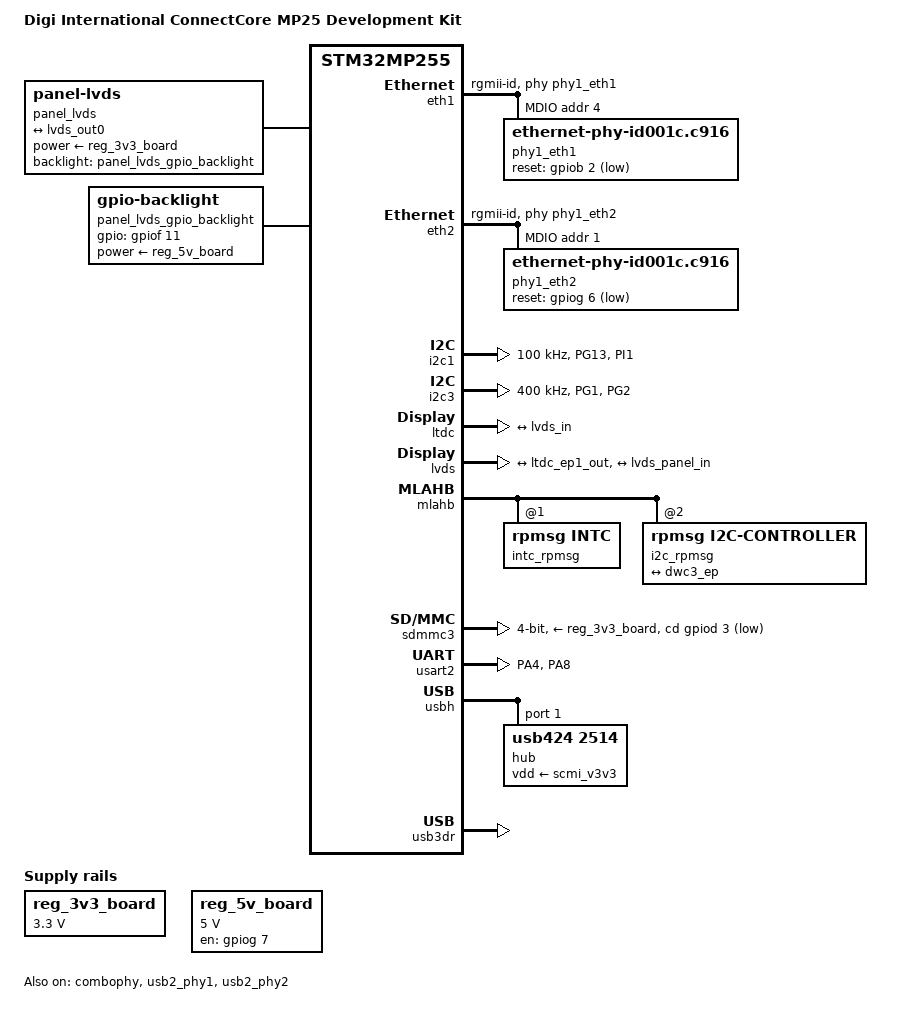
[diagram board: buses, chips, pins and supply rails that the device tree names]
// SPDX-License-Identifier: (GPL-2.0-or-later OR BSD-3-Clause)
/*
 * Copyright (C) STMicroelectronics 2023 - All Rights Reserved
 * Copyright (C) 2024, Digi International Inc - All Rights Reserved
 */

/dts-v1/;

#include <dt-bindings/gpio/gpio.h>
#include <dt-bindings/input/input.h>
#include <dt-bindings/leds/common.h>
#include <dt-bindings/regulator/st,stm32mp25-regulator.h>

/* Digi ConnectCore MP25 (SOM) */
#include "ccmp25.dtsi"

/ {
	model = "Digi International ConnectCore MP25 Development Kit";
	compatible = "digi,ccmp25-dvk", "digi,ccmp25", "st,stm32mp255";

	system-info {
    	compatible = "Viena,system-info";
		product-id = "Viena-CCMP25";
    	pcb-revision = "Rev 1.0";
    	firmware-version = "DEY5.0r3-20250119-pwr1-console-bias-pull-up-remove-i2c8";
	};

	aliases {
		ethernet0 = &eth1;
		ethernet1 = &eth2;
		serial0 = &usart2;
	};

	chosen {
		stdout-path = "serial0:115200n8";
		#address-cells = <2>;
		#size-cells = <2>;
		ranges;

		framebuffer {
			compatible = "simple-framebuffer";
			clocks = <&rcc CK_BUS_LTDC>, <&rcc CK_KER_LTDC>,
				 <&rcc CK_BUS_LVDS>, <&rcc CK_KER_LVDSPHY>;
			status = "disabled";
		};
	};

	clocks {
		pad_clk: pad-clk {
			#clock-cells = <0>;
			compatible = "fixed-clock";
			clock-frequency = <100000000>;
		};
	};

	regulators {
		compatible = "simple-bus";
		#address-cells = <1>;
		#size-cells = <0>;

		reg_3v3_board: regulator-board@1 {
			compatible = "regulator-fixed";
			reg = <1>;
			regulator-name = "3v3_board";
			regulator-min-microvolt = <3300000>;
			regulator-max-microvolt = <3300000>;
			regulator-always-on;
			status = "okay";
		};

		reg_5v_board: regulator-board@2 {
			compatible = "regulator-fixed";
			reg = <2>;
			regulator-name = "5v_board";
			regulator-min-microvolt = <5000000>;
			regulator-max-microvolt = <5000000>;
			regulator-enable-ramp-delay = <8000>;
			gpio = <&gpiog 7 GPIO_ACTIVE_HIGH>; /* 5V_BOARD_EN */
			enable-active-high;
			status = "okay";
		};
	};

	panel_lvds: panel-lvds {
		compatible = "panel-lvds";
		power-supply = <&reg_3v3_board>;
		backlight = <&panel_lvds_gpio_backlight>;
		/* backlight = <&panel_hx3248c_backlight>; */
		status = "okay";

		width-mm = <235>;
		height-mm = <143>;
		data-mapping = "vesa-24";

		panel-timing {
			clock-frequency = <51200000>;
			hactive = <1024>;
        	vactive = <600>;
	        hfront-porch = <160>;
    	    hback-porch = <160>;
        	hsync-len = <10>;
	        vfront-porch = <12>;
    	    vback-porch = <23>;
        	vsync-len = <3>;
			hsync-active = <0>;
			vsync-active = <0>;
			de-active = <1>;
			pixelclk-active = <0>;
		};

		port {
			lvds_panel_in: endpoint {
				remote-endpoint = <&lvds_out0>;
			};
		};
	};

	panel_lvds_gpio_backlight: panel-lvds-gpio-backlight {
		compatible = "gpio-backlight";
		power-supply = <&reg_5v_board>;
		gpios = <&gpiof 11 GPIO_ACTIVE_HIGH>; /* LVDS_BCKL_EN */
		status = "okay";
	};
};

&combophy {
	clocks = <&rcc CK_BUS_USB3PCIEPHY>, <&rcc CK_KER_USB3PCIEPHY>, <&pad_clk>;
	clock-names = "apb-clk", "ker-clk", "pad-clk";
	st,rx_equalizer = <1>;
	status = "okay";
};


&eth1 {

	status = "okay";
	pinctrl-0 = <&eth1_rgmii_pins_a &eth1_mdio_pins_a>;
	pinctrl-1 = <&eth1_rgmii_sleep_pins_a &eth1_mdio_sleep_pins_a>;
	pinctrl-names = "default", "sleep";
	phy-mode = "rgmii-id";
	max-speed = <1000>;
	phy-handle = <&phy1_eth1>;
	st,eth-clk-sel;
	snps,ext-systime;

	mdio1 {
		#address-cells = <1>;
		#size-cells = <0>;
		compatible = "snps,dwmac-mdio";
		phy1_eth1: ethernet-phy@4 {
			compatible = "ethernet-phy-id001c.c916";
			reset-gpios =  <&gpiob 2 GPIO_ACTIVE_LOW>;
			reset-assert-us = <10000>;
			reset-deassert-us = <80000>;
			realtek,eee-disable;
			reg = <4>;
		};
	};
};

&eth2 {

	status = "okay";
	pinctrl-0 = <&eth2_rgmii_pins_a>;
	pinctrl-1 = <&eth2_rgmii_sleep_pins_a>;
	pinctrl-names = "default", "sleep";
	phy-mode = "rgmii-id";
	max-speed = <1000>;
	phy-handle = <&phy1_eth2>;
	st,eth-ptp-from-rcc;

	mdio1 {
		#address-cells = <1>;
		#size-cells = <0>;
		compatible = "snps,dwmac-mdio";
		phy1_eth2: ethernet-phy@1 {
			compatible = "ethernet-phy-id001c.c916";
			reset-gpios =  <&gpiog 6 GPIO_ACTIVE_LOW>;
			reset-assert-us = <10000>;
			reset-deassert-us = <80000>;
			realtek,eee-disable;
			reg = <1>;
		};
	};

};

&i2c1 {
	pinctrl-names = "default", "sleep";
	pinctrl-0 = <&ccmp25_i2c1_pins>;
	pinctrl-1 = <&ccmp25_i2c1_sleep_pins>;
	i2c-scl-rising-time-ns = <185>;
	i2c-scl-falling-time-ns = <20>;
	clock-frequency = <100000>;
	status = "okay";
	/* spare dmas for other usage */
	/delete-property/dmas;
	/delete-property/dma-names;
};

&i2c3 {
	pinctrl-names = "default", "sleep";
	pinctrl-0 = <&ccmp25_i2c3_pins>;
    pinctrl-1 = <&ccmp25_i2c3_sleep_pins>;
	i2c-scl-rising-time-ns = <100>;
	i2c-scl-falling-time-ns = <13>;
	clock-frequency = <400000>;
	status = "okay";
	/* spare dmas for other usage */
	/delete-property/dmas;
	/delete-property/dma-names;
};

&ltdc {
	rotation-memory = <&ltdc_sec_rotation>;
	status = "okay";

	port {
		#address-cells = <1>;
		#size-cells = <0>;

		ltdc_ep1_out: endpoint@1 {
			reg = <1>;
			remote-endpoint = <&lvds_in>;
		};
	};
};

&lvds {
	status = "okay";

	ports {
		#address-cells = <1>;
		#size-cells = <0>;

		port@0 {
			reg = <0>;
			lvds_in: endpoint {
				remote-endpoint = <&ltdc_ep1_out>;
			};
		};

		port@1 {
			reg = <1>;
			lvds_out0: endpoint {
				remote-endpoint = <&lvds_panel_in>;
			};
		};
	};
};

&mlahb {
	intc_rpmsg: interrupt-controller@1 {
		compatible = "rpmsg,intc";
		reg = <1 0>;
		#interrupt-cells = <1>;
		interrupt-controller;
	};

	i2c_rpmsg: i2c@2 {
		compatible = "rpmsg,i2c-controller";
		reg = <2 0>;
		rpmsg,dev-id = "rpmsg_i2c";
		#address-cells = <1>;
		#size-cells = <0>;
		status = "okay";

		typec@35 {
			compatible = "st,stm32mp25-typec";
			reg = <0x35>;
			interrupts-extended = <&intc_rpmsg 0>;
			status = "okay";
			connector {
				compatible = "usb-c-connector";
				label = "USB-C";

				port {
					typec_ep: endpoint {
						remote-endpoint = <&dwc3_ep>;
					};
				};
			};
		};
	};
};

/* Micro SD */
&sdmmc3 {
	pinctrl-names = "default", "opendrain", "sleep";
	pinctrl-0 = <&sdmmc3_b4_pins_a>;
	pinctrl-1 = <&sdmmc3_b4_od_pins_a>;
	pinctrl-2 = <&sdmmc3_b4_sleep_pins_a>;
	cd-gpios = <&gpiod 3 GPIO_ACTIVE_LOW>;   /* viena-board use pd3 */
	disable-wp;
	st,neg-edge;
	no-1-8-v;
	bus-width = <4>;
	vmmc-supply = <&reg_3v3_board>; /* card's VDD pin */
	vqmmc-supply = <&scmi_vddio3>;
	status = "okay";
};

/* Console A35 */
&usart2 {
	pinctrl-names = "default", "idle", "sleep";
	pinctrl-0 = <&ccmp25_usart2_pins_a>;
	pinctrl-1 = <&ccmp25_usart2_idle_pins_a>;
	pinctrl-2 = <&usart2_sleep_pins_a>;
	/delete-property/dmas;
	/delete-property/dma-names;
	status = "okay";
};

&usb2_phy1 {
	vdd33-supply = <&scmi_vdd3v3_usb>;
	vdda18-supply = <&reg_5v_board>;
	status = "okay";
};

&usb2_phy2 {
	vdd33-supply = <&scmi_vdd3v3_usb>;
	vdda18-supply = <&reg_5v_board>;
	status = "okay";
};

&usbh {
	status = "okay";

	usbh_ehci: usb@482f0000 {
		#address-cells = <1>;
		#size-cells = <0>;
		/* onboard HUB */
		hub@1 {
			compatible = "usb424,2514";
			reg = <1>;
			vdd-supply = <&scmi_v3v3>;
		};
	};

	usbh_ohci: usb@482e0000 {
		status = "disabled";
	};
};

&usb3dr {
	status = "okay";

	dwc3: usb@48300000 {
		maximum-speed = "high-speed";
		usb-role-switch;
		port {
			dwc3_ep: endpoint {
				remote-endpoint = <&typec_ep>;
			};
		};
	};
};

&pinctrl {
	ccmp25_usart2_pins_a: ccmp25-usart2-0 {
		pins1 {
			pinmux = <STM32_PINMUX('A', 4, AF6)>; /* USART2_TX */
			bias-disable;
			drive-push-pull;
			slew-rate = <0>;
		};
		pins2 {
			pinmux = <STM32_PINMUX('A', 8, AF8)>; /* USART2_RX */
			/* pull-up on rx to avoid floating level */
			bias-pull-up;
		};
	};

	ccmp25_usart2_idle_pins_a: ccmp25-usart2-idle-0 {
		pins1 {
			pinmux = <STM32_PINMUX('A', 4, ANALOG)>; /* USART2_TX */
		};
		pins2 {
			pinmux = <STM32_PINMUX('A', 8, AF8)>; /* USART2_RX */
			/* pull-up on rx to avoid floating level */
			bias-pull-up;
		};
	};



	ccmp25_i2c1_pins: ccmp25-i2c1-0 {
		pins {
			pinmux = <STM32_PINMUX('G', 13, AF9)>, /* I2C1_SCL */
				 <STM32_PINMUX('I', 1, AF9)>; /* I2C1_SDA */
			bias-disable;
			drive-open-drain;
			slew-rate = <0>;
		};
	};

	ccmp25_i2c1_sleep_pins: ccmp25-i2c1-sleep-0 {
		pins {
			pinmux = <STM32_PINMUX('G', 13, ANALOG)>, /* I2C1_SCL */
				 <STM32_PINMUX('I', 1, ANALOG)>; /* I2C1_SDA */
		};
	};
		
	ccmp25_i2c3_pins: ccmp25-i2c3-0 {
		pins {
			pinmux = <STM32_PINMUX('G', 1, AF9)>, /* I2C3_SCL */
				 <STM32_PINMUX('G', 2, AF9)>; /* I2C3_SDA */
			bias-disable;
			drive-open-drain;
			slew-rate = <0>;
		};
	};

	ccmp25_i2c3_sleep_pins: ccmp25-i2c3-sleep-0 {
		pins {
			pinmux = <STM32_PINMUX('G', 1, ANALOG)>, /* I2C3_SCL */
				 <STM32_PINMUX('G', 2, ANALOG)>; /* I2C3_SDA */
		};
	};
};

